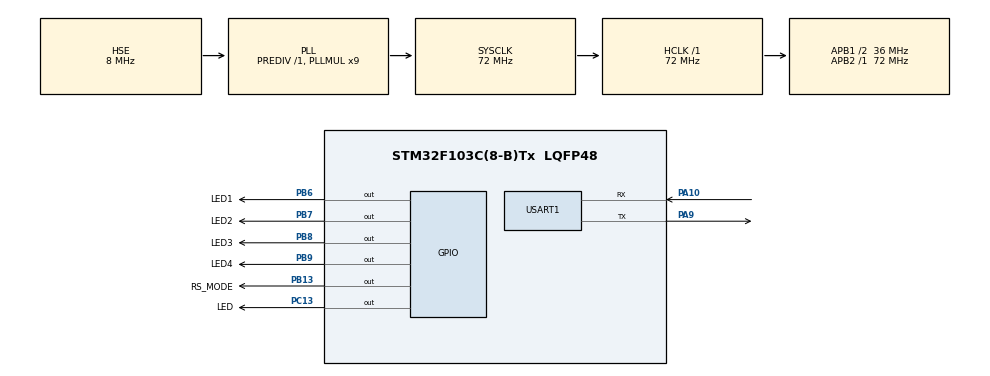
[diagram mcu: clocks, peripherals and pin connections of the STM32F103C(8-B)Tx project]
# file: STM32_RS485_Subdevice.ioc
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Mcu.Family=STM32F1
Mcu.Name=STM32F103C(8-B)Tx
Mcu.Package=LQFP48
NVIC.PriorityGroup=NVIC_PRIORITYGROUP_4
NVIC.USART1_IRQn=true\:0\:0\:false\:false\:true\:true\:true\:true
PA10.Mode=Asynchronous
PA10.Signal=USART1_RX
PA13.Mode=Serial_Wire
PA13.Signal=SYS_JTMS-SWDIO
PA14.Mode=Serial_Wire
PA14.Signal=SYS_JTCK-SWCLK
PA9.Mode=Asynchronous
PA9.Signal=USART1_TX
PB13.GPIO_Label=RS_MODE
PB13.Signal=GPIO_Output
PB6.GPIO_Label=LED1
PB6.Signal=GPIO_Output
PB7.GPIO_Label=LED2
PB7.Signal=GPIO_Output
PB8.GPIO_Label=LED3
PB8.Signal=GPIO_Output
PB9.GPIO_Label=LED4
PB9.Signal=GPIO_Output
PC13-TAMPER-RTC.GPIO_Label=LED
PC13-TAMPER-RTC.Signal=GPIO_Output
PD0-OSC_IN.Mode=HSE-External-Oscillator
PD0-OSC_IN.Signal=RCC_OSC_IN
PD1-OSC_OUT.Mode=HSE-External-Oscillator
PD1-OSC_OUT.Signal=RCC_OSC_OUT
ProjectManager.HeapSize=0x200
ProjectManager.StackSize=0x400
ProjectManager.TargetToolchain=STM32CubeIDE
RCC.AHBFreq_Value=72000000
RCC.APB1CLKDivider=RCC_HCLK_DIV2
RCC.APB1Freq_Value=36000000
RCC.APB1TimFreq_Value=72000000
RCC.APB2Freq_Value=72000000
RCC.APB2TimFreq_Value=72000000
RCC.HCLKFreq_Value=72000000
RCC.PLLMUL=RCC_PLL_MUL9
RCC.PLLSourceVirtual=RCC_PLLSOURCE_HSE
RCC.SYSCLKFreq_VALUE=72000000
RCC.SYSCLKSource=RCC_SYSCLKSOURCE_PLLCLK
RCC.USBFreq_Value=72000000
USART1.VirtualMode=VM_ASYNC
board=custom

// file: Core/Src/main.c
/* USER CODE BEGIN Header */
/**
  ******************************************************************************
  * @file           : main.c
  * @brief          : Main program body
  ******************************************************************************
  * @attention
  *
  * Copyright (c) 2024 STMicroelectronics.
  * All rights reserved.
  *
  * This software is licensed under terms that can be found in the LICENSE file
  * in the root directory of this software component.
  * If no LICENSE file comes with this software, it is provided AS-IS.
  *
  ******************************************************************************
  */
/* USER CODE END Header */
#include "main.h"

/* USER CODE BEGIN Includes */
#define DATALEN 2
#define ADDRESS 0b00000010

/* USER CODE END Includes */

UART_HandleTypeDef huart1;

void SystemClock_Config(void);
static void MX_GPIO_Init(void);
static void MX_USART1_UART_Init(void);

/* USER CODE BEGIN 0 */

uint8_t data[DATALEN];
uint8_t leds = 1;
int datacheck = 0;

/* USER CODE END 0 */

int main(void)
{

  /* MCU Configuration--------------------------------------------------------*/

  /* Reset of all peripherals, Initializes the Flash interface and the Systick. */
  HAL_Init();

  /* Configure the system clock */
  SystemClock_Config();

  /* Initialize all configured peripherals */
  MX_GPIO_Init();
  MX_USART1_UART_Init();
  /* USER CODE BEGIN 2 */
  HAL_GPIO_WritePin(RS_MODE_GPIO_Port, RS_MODE_Pin, GPIO_PIN_RESET);
  for(int i = 0; i < 4; ++i){
	HAL_GPIO_WritePin(LED1_GPIO_Port, LED1_Pin<<i, (leds>>i & 0x01));
  }
  /* USER CODE END 2 */

  /* Infinite loop */
  /* USER CODE BEGIN WHILE */
  while (1)
  {

	  if(HAL_UART_Receive(&huart1, data, DATALEN, 10) == HAL_OK){
	    if((data[0]) == ADDRESS){
		leds = data[1] & 0x0F;
		for(int i = 0; i < 4; ++i){
		    HAL_GPIO_WritePin(LED1_GPIO_Port, LED1_Pin<<i, (leds>>i & 0x01));
		}
	    }
	    else if(data[0] == 0xFF && data[1] == ADDRESS){
		HAL_Delay(20);
		HAL_GPIO_WritePin(RS_MODE_GPIO_Port, RS_MODE_Pin, GPIO_PIN_SET);
		data[0] = ADDRESS;
		data[1] = leds;
		HAL_UART_Transmit(&huart1, data, 2, 30);
		HAL_GPIO_WritePin(RS_MODE_GPIO_Port, RS_MODE_Pin, GPIO_PIN_RESET);
	    }

	    HAL_GPIO_TogglePin(LED_GPIO_Port, LED_Pin);
	  }
    /* USER CODE END WHILE */

  }
}

void SystemClock_Config(void)
{
  RCC_OscInitTypeDef RCC_OscInitStruct = {0};
  RCC_ClkInitTypeDef RCC_ClkInitStruct = {0};

  /** Initializes the RCC Oscillators according to the specified parameters
  * in the RCC_OscInitTypeDef structure.
  */
  RCC_OscInitStruct.OscillatorType = RCC_OSCILLATORTYPE_HSE;
  RCC_OscInitStruct.HSEState = RCC_HSE_ON;
  RCC_OscInitStruct.HSEPredivValue = RCC_HSE_PREDIV_DIV1;
  RCC_OscInitStruct.HSIState = RCC_HSI_ON;
  RCC_OscInitStruct.PLL.PLLState = RCC_PLL_ON;
  RCC_OscInitStruct.PLL.PLLSource = RCC_PLLSOURCE_HSE;
  RCC_OscInitStruct.PLL.PLLMUL = RCC_PLL_MUL9;
  if (HAL_RCC_OscConfig(&RCC_OscInitStruct) != HAL_OK)
  {
    Error_Handler();
  }

  /** Initializes the CPU, AHB and APB buses clocks
  */
  RCC_ClkInitStruct.ClockType = RCC_CLOCKTYPE_HCLK|RCC_CLOCKTYPE_SYSCLK
                              |RCC_CLOCKTYPE_PCLK1|RCC_CLOCKTYPE_PCLK2;
  RCC_ClkInitStruct.SYSCLKSource = RCC_SYSCLKSOURCE_PLLCLK;
  RCC_ClkInitStruct.AHBCLKDivider = RCC_SYSCLK_DIV1;
  RCC_ClkInitStruct.APB1CLKDivider = RCC_HCLK_DIV2;
  RCC_ClkInitStruct.APB2CLKDivider = RCC_HCLK_DIV1;

  if (HAL_RCC_ClockConfig(&RCC_ClkInitStruct, FLASH_LATENCY_2) != HAL_OK)
  {
    Error_Handler();
  }
}

static void MX_USART1_UART_Init(void)
{

  huart1.Instance = USART1;
  huart1.Init.BaudRate = 115200;
  huart1.Init.WordLength = UART_WORDLENGTH_8B;
  huart1.Init.StopBits = UART_STOPBITS_1;
  huart1.Init.Parity = UART_PARITY_NONE;
  huart1.Init.Mode = UART_MODE_TX_RX;
  huart1.Init.HwFlowCtl = UART_HWCONTROL_NONE;
  huart1.Init.OverSampling = UART_OVERSAMPLING_16;
  if (HAL_UART_Init(&huart1) != HAL_OK)
  {
    Error_Handler();
  }

}

static void MX_GPIO_Init(void)
{
  GPIO_InitTypeDef GPIO_InitStruct = {0};

  /* GPIO Ports Clock Enable */
  __HAL_RCC_GPIOC_CLK_ENABLE();
  __HAL_RCC_GPIOD_CLK_ENABLE();
  __HAL_RCC_GPIOB_CLK_ENABLE();
  __HAL_RCC_GPIOA_CLK_ENABLE();

  /*Configure GPIO pin Output Level */
  HAL_GPIO_WritePin(LED_GPIO_Port, LED_Pin, GPIO_PIN_RESET);

  /*Configure GPIO pin Output Level */
  HAL_GPIO_WritePin(GPIOB, RS_MODE_Pin|LED1_Pin|LED2_Pin|LED3_Pin
                          |LED4_Pin, GPIO_PIN_RESET);

  /*Configure GPIO pin : LED_Pin */
  GPIO_InitStruct.Pin = LED_Pin;
  GPIO_InitStruct.Mode = GPIO_MODE_OUTPUT_PP;
  GPIO_InitStruct.Pull = GPIO_NOPULL;
  GPIO_InitStruct.Speed = GPIO_SPEED_FREQ_LOW;
  HAL_GPIO_Init(LED_GPIO_Port, &GPIO_InitStruct);

  /*Configure GPIO pins : RS_MODE_Pin LED1_Pin LED2_Pin LED3_Pin
                           LED4_Pin */
  GPIO_InitStruct.Pin = RS_MODE_Pin|LED1_Pin|LED2_Pin|LED3_Pin
                          |LED4_Pin;
  GPIO_InitStruct.Mode = GPIO_MODE_OUTPUT_PP;
  GPIO_InitStruct.Pull = GPIO_NOPULL;
  GPIO_InitStruct.Speed = GPIO_SPEED_FREQ_LOW;
  HAL_GPIO_Init(GPIOB, &GPIO_InitStruct);

}

void Error_Handler(void)
{
  __disable_irq();
  while (1)
  {
  }
}
